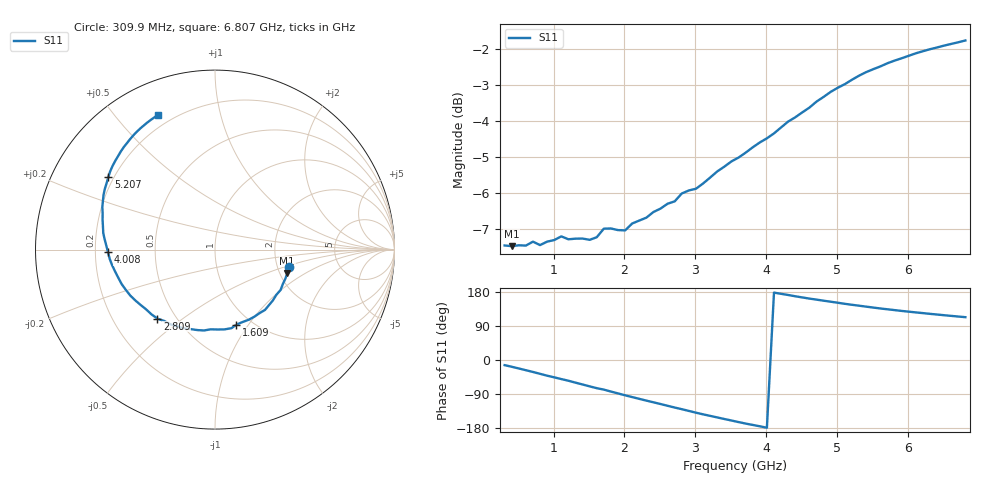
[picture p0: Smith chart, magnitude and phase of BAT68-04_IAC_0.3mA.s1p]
! Infineon Technologies  Discrete & RF Semiconductors
! BAT68-04
! IAC = 0.3 mA
! One-Port S-Parameters
# Hz  S  MA  R  50
!f  S11
!Hz  Mag  Ang
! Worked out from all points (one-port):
!   66 points, 309.9 MHz to 6.807 GHz, reference 50 ohm
!   lowest |S11| = -7.5 dB at 409.8 MHz (marker M1), VSWR 2.47, Z = 110 - j34.7 ohm
!   |S11| at or under -10 dB: nowhere
!   S11 on the Smith chart (normalised r, x): 309.9 MHz: 2.31, -0.56; 1.609 GHz: 0.85, -0.88; 2.809 GHz: 0.40, -0.41; 4.008 GHz: 0.25, -0.01; 5.207 GHz: 0.18, +0.30; 6.807 GHz: 0.15, +0.65
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3.0985e8  0.424 -13.6
4.098e8  0.4231 -17.8
7.0965e8  0.4292 -31.6
8.096e8  0.4246 -36.4
1.10945e9  0.4365 -50.3
1.2094e9  0.4325 -54.7
1.4093e9  0.4335 -64.6
1.6092e9  0.4353 -74.4
1.70915e9  0.4474 -78.2
1.8091e9  0.4477 -83.3
2.009e9  0.4449 -93.1
2.10895e9  0.4548 -97.8
2.4088e9  0.4718 -111.7
2.8086e9  0.5006 -129.8
3.0085e9  0.5081 -139.1
3.30835e9  0.537 -151.6
3.6082e9  0.5612 -163.8
3.8081e9  0.5798 -171.4
4.008e9  0.5967 -178.8
4.30785e9  0.6294 171.5
4.4078e9  0.638 168.2
4.70765e9  0.6708 159.3
4.90755e9  0.6919 153.8
5.2074e9  0.7191 145.7
5.6072e9  0.7503 136.0
6.007e9  0.7762 127.6
6.30685e9  0.7927 121.8
6.8066e9  0.8151 113.0
